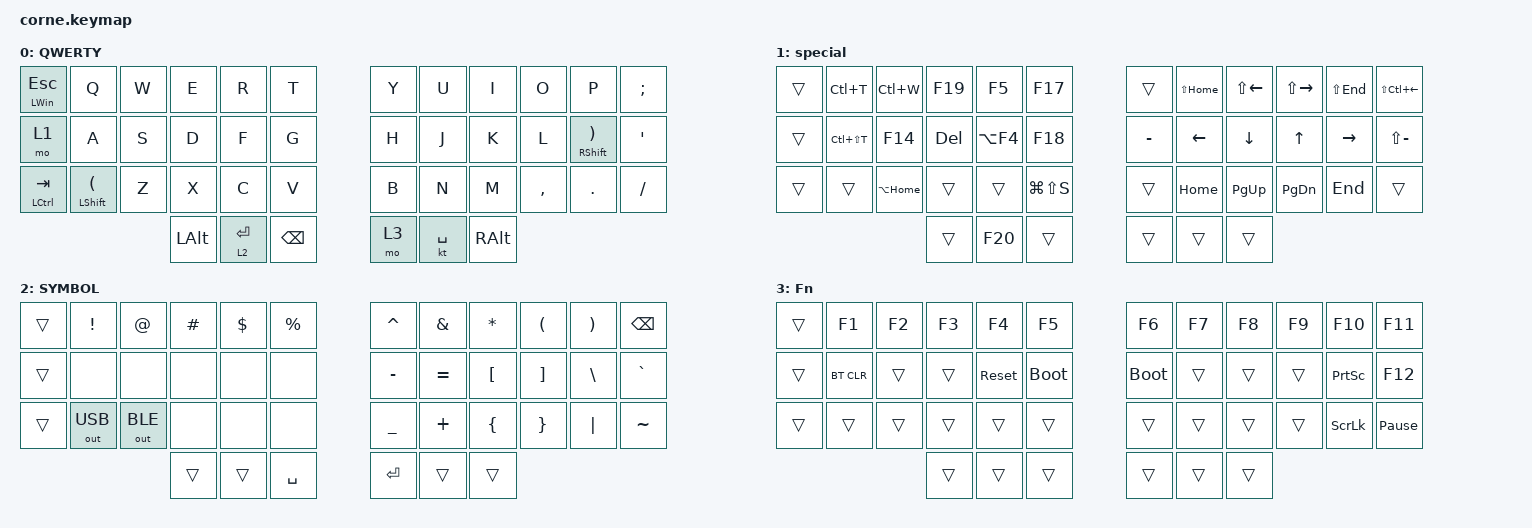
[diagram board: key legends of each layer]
/*
 * Copyright (c) 2020 The ZMK Contributors
 *
 * SPDX-License-Identifier: MIT
 */

#include <behaviors.dtsi>
#include <dt-bindings/zmk/bt.h>
#include <dt-bindings/zmk/keys.h>
#include <dt-bindings/zmk/outputs.h>

/ {
    chosen {
        zmk,matrix_transform = &default_transform;

        // zmk,matrix_transform = &five_column_transform;
    };
};

/ {
    behaviors {
        space_cardet: space_cardet {
            compatible = "zmk,behavior-hold-tap";
            label = "SPACE_CARDET";
            bindings = <&kp>, <&kp>;

            #binding-cells = <2>;
            tapping-term-ms = <200>;
            hold-while-undecided;
        };
    };

    keymap {
        compatible = "zmk,keymap";

        default_layer {
            display-name = "QWERTY";

            // --------------------------------------------------------------------------------
            // |  TAB |  Q  |  W  |  E  |  R  |  T  |   |  Y  |  U   |  I  |  O  |  P  | BKSP |
            // | CTRL |  A  |  S  |  D  |  F  |  G  |   |  H  |  J   |  K  |  L  |  ;  |  '   | 
            // | SHFT |  Z  |  X  |  C  |  V  |  B  |   |  N  |  M   |  ,  |  .  |  /  | ESC  |
            //                    | GUI | LWR | SPC |   | ENT | RSE  | ALT |

            bindings = <
&mt LEFT_WIN ESC         &kp Q                          &kp W  &kp E         &kp R        &kp T            &kp Y  &kp U      &kp I     &kp O      &kp P                           &kp SEMI
&mo 1                    &kp A                          &kp S  &kp D         &kp F        &kp G            &kp H  &kp J      &kp K     &kp L      &space_cardet RIGHT_SHIFT RPAR  &kp SQT
&space_cardet LCTRL TAB  &space_cardet LEFT_SHIFT LPAR  &kp Z  &kp X         &kp C        &kp V            &kp B  &kp N      &kp M     &kp COMMA  &kp PERIOD                      &kp SLASH
                                                               &kp LEFT_ALT  &lt 2 ENTER  &kp BACKSPACE    &mo 3  &kt SPACE  &kp RALT
            >;
        };

        layer_action {
            display-name = "special";

            // -----------------------------------------------------------------------------------------
            // |  TAB |  1  |  2  |  3  |  4  |  5  |   |  6  |  7  |  8  |  9  |  0  | BKSP |
            // | BTCLR| BT1 | BT2 | BT3 | BT4 | BT5 |   | LFT | DWN |  UP | RGT |     |      |
            // | SHFT |     |     |     |     |     |   |     |     |     |     |     |      |
            //                    | GUI |     | SPC |   | ENT |     | ALT |

            bindings = <
&trans  &kp LC(T)      &kp LC(W)     &kp F19  &kp F5      &kp F17          &trans     &kp LS(HOME)  &kp LS(LEFT)    &kp LS(RIGHT)  &kp LS(END)  &kp LS(LC(LEFT))
&trans  &kp LC(LS(T))  &kp F14       &kp DEL  &kp LA(F4)  &kp F18          &kp MINUS  &kp LEFT      &kp DOWN_ARROW  &kp UP_ARROW   &kp RIGHT    &kp LS(MINUS)
&trans  &trans         &kp LA(HOME)  &trans   &trans      &kp LG(LS(S))    &trans     &kp HOME      &kp PAGE_UP     &kp PAGE_DOWN  &kp END      &trans
                                     &trans   &kp F20     &trans           &trans     &trans        &trans
            >;
        };

        raise_layer {
            display-name = "SYMBOL";

            // -----------------------------------------------------------------------------------------
            // |  TAB |  !  |  @  |  #  |  $  |  %  |   |  ^  |  &  |  *  |  (  |  )  | BKSP |
            // | CTRL |     |     |     |     |     |   |  -  |  =  |  [  |  ]  |  \  |  `   |
            // | SHFT |     |     |     |     |     |   |  _  |  +  |  {  |  }  | "|" |  ~   |
            //                    | GUI |     | SPC |   | ENT |     | ALT |

            bindings = <
&trans  &kp EXCL      &kp AT        &kp HASH  &kp DLLR  &kp PRCNT    &kp CARET  &kp AMPS   &kp ASTRK  &kp LPAR  &kp RPAR  &kp BSPC
&trans  &none         &none         &none     &none     &none        &kp MINUS  &kp EQUAL  &kp LBKT   &kp RBKT  &kp BSLH  &kp GRAVE
&trans  &out OUT_USB  &out OUT_BLE  &none     &none     &none        &kp UNDER  &kp PLUS   &kp LBRC   &kp RBRC  &kp PIPE  &kp TILDE
                                    &trans    &trans    &kp SPACE    &kp RET    &trans     &trans
            >;
        };

        layer_3 {
            display-name = "Fn";
            bindings = <
&trans  &kp F1      &kp F2  &kp F3  &kp F4      &kp F5         &kp F6       &kp F7  &kp F8  &kp F9  &kp F10          &kp F11
&trans  &bt BT_CLR  &trans  &trans  &sys_reset  &bootloader    &bootloader  &trans  &trans  &trans  &kp PRINTSCREEN  &kp F12
&trans  &trans      &trans  &trans  &trans      &trans         &trans       &trans  &trans  &trans  &kp SCROLLLOCK   &kp PAUSE_BREAK
                            &trans  &trans      &trans         &trans       &trans  &trans
            >;
        };
    };
};
